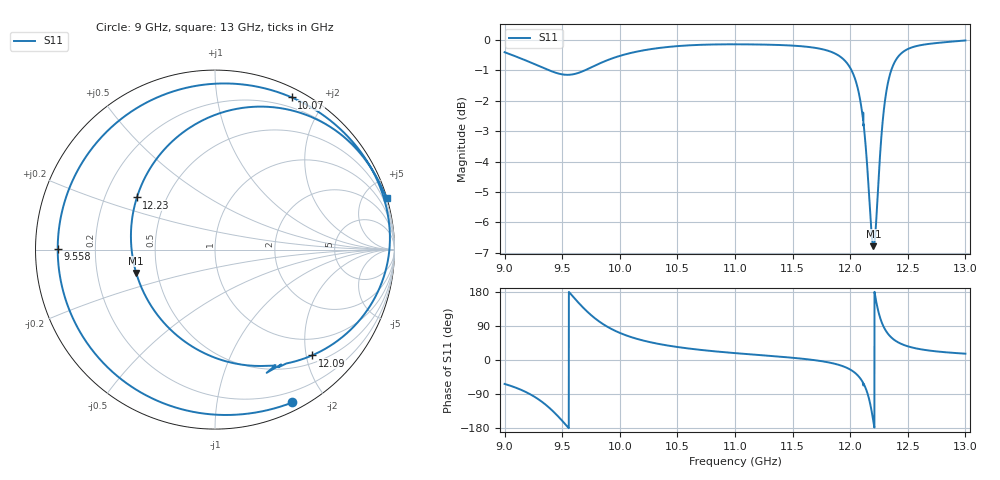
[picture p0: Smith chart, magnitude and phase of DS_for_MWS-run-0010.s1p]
! TOUCHSTONE file generated by CST DESIGN STUDIO
! Date and time: Tue Feb  4 14:34:13 2025
! Project name: C:\Work\MatlabApps\UnitCellOptimizationMatlab\CST\unitcell.cst
! Tree item: Tasks\Sweep1\SPara1\S-Parameters
! Header version: 2024
! Port assignment regex: !\s*Touchstone port\s*([0-9]+)\s*=\s*(CST MWS port|CST DES external port|CST DES block port)\s*(.+)\s* \(\"(.*)\"\)(\s*mode\s*([0-9]+))?.*
! Touchstone port assignment:
! Touchstone port 1 = CST DES external port 1 ("")
# GHz S MA R 50
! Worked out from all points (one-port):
!   4001 points, 9 GHz to 13 GHz, reference 50 ohm
!   lowest |S11| = -6.8 dB at 12.2 GHz (marker M1), VSWR 2.69, Z = 18.9 - j6.26 ohm
!   |S11| at or under -10 dB: nowhere
!   S11 on the Smith chart (normalised r, x): 9 GHz: 0.08, -1.62; 9.558 GHz: 0.07, +0.00; 10.07 GHz: 0.09, +1.62; 12.09 GHz: 0.64, -2.11; 12.23 GHz: 0.34, +0.27; 13 GHz: 0.04, +6.81
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9  0.9546 -63.1
9.156  0.93 -80.5
9.306  0.9048 -106.3
9.404  0.8888 -130.6
9.5  0.8778 -160.4
9.558  0.8764 179.7
9.642  0.8829 150.9
9.757  0.9024 116.8
9.861  0.9212 93.5
10  0.9415 71.5
10.071  0.9496 63.3
10.258  0.9652 47.4
10.5  0.977 34.3
11  0.9837 18.2
11.5  0.9789 5.9
11.808  0.96 -6.1
12  0.8998 -25.2
12.085  0.7999 -47.5
12.123  0.7063 -66.5
12.151  0.607 -88.9
12.176  0.5099 -119.1
12.202  0.4579 -163.4
12.231  0.5233 146.3
12.267  0.679 104.8
12.307  0.8073 78.4
12.386  0.9196 52.3
12.5  0.9662 36.1
13  0.9982 16.7
